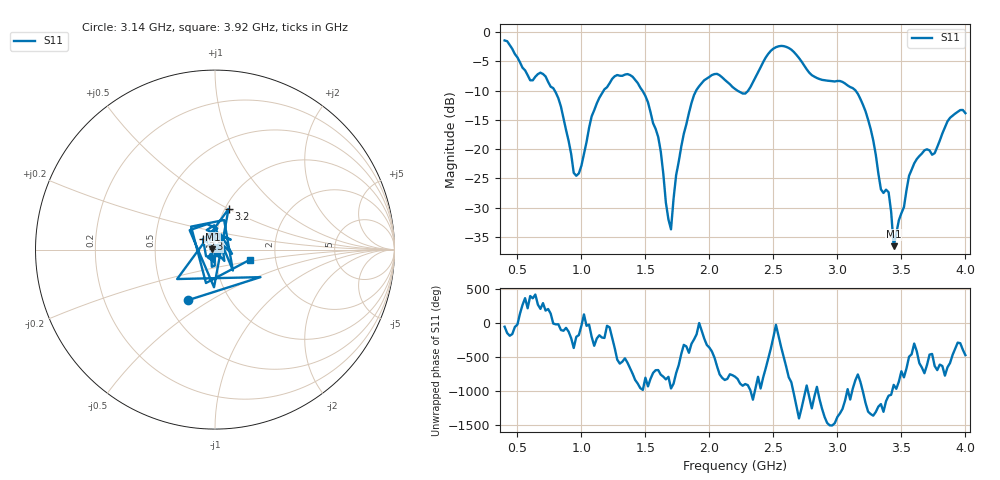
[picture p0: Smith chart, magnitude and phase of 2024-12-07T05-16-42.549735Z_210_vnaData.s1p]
!Created with skrf (http://scikit-rf.org).
# Hz S RI R 50.0
!freq ReS11 ImS11
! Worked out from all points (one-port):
!   181 points, 400 MHz to 4 GHz, reference 50 ohm
!   lowest |S11| = -36.6 dB at 3.44 GHz (marker M1), VSWR 1.03, Z = 48.5 + j0.111 ohm
!   |S11| at or under -10 dB: 790.6 MHz to 1.174 GHz (383.7 MHz wide, 39.1 % of centre); 1.476 GHz to 1.897 GHz (421.8 MHz wide, 25 % of centre); 3.141 GHz to end of sweep (the widest 3 of 4)
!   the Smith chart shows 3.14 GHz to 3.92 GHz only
!   S11 on the Smith chart (normalised r, x): 3.14 GHz: 0.64, -0.40; 3.2 GHz: 1.04, +0.50; 3.3 GHz: 0.87, +0.10; 3.92 GHz: 1.46, -0.18
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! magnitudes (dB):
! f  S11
! 400 MHz  -1.5
! 600 MHz  -8.3
! 720 MHz  -7.6
! 860 MHz  -14.8
! 960 MHz  -24.6
! 1.12 GHz  -12.2
! 1.3 GHz  -7.5
! 1.52 GHz  -12.0
! 1.6 GHz  -17.9
! 1.7 GHz  -33.7
! 1.76 GHz  -22.2
! 1.92 GHz  -9.3
! 2.06 GHz  -7.2
! 2.2 GHz  -9.7
! 2.3 GHz  -10.1
! 2.5 GHz  -2.8
! 2.66 GHz  -3.4
! 2.8 GHz  -7.4
! 3.1 GHz  -9.4
! 3.14 GHz  -10.0
! 3.2 GHz  -12.5
! 3.3 GHz  -21.0
! 3.34 GHz  -26.9
! 3.4 GHz  -27.4
! 3.44 GHz  -36.6
! 3.56 GHz  -24.6
! 3.92 GHz  -13.9
! 4 GHz  -13.9
